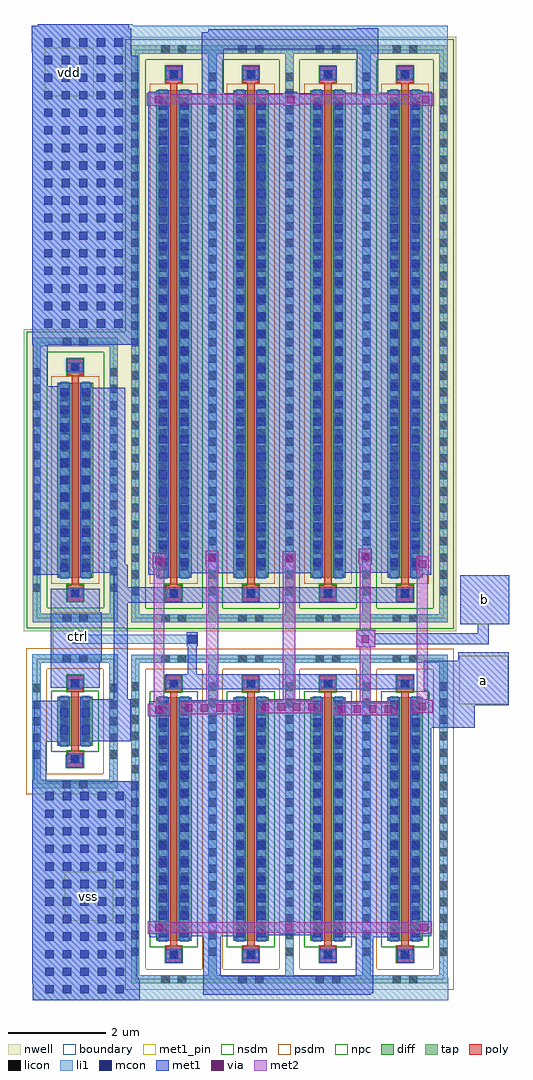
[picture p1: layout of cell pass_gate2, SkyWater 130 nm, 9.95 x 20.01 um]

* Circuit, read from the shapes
.subckt pass_gate2 a b ctrl vdd vss
XM1 n1 ctrl vss vss sky130_fd_pr__nfet_01v8 w=1 l=0.15
XM2 b ctrl a vss sky130_fd_pr__nfet_01v8 w=5 l=0.15 m=4
XM3 n1 ctrl vdd vdd sky130_fd_pr__pfet_01v8 w=4 l=0.15
XM4 b n1 a vdd sky130_fd_pr__pfet_01v8 w=10 l=0.15 m=4
.ends

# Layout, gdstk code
import gdstk
lib = gdstk.Library(unit=1e-6, precision=1e-09)
def R(c, l, rs):  # rectangles x0, y0, x1, y1
    for r in rs: c.add(gdstk.rectangle(r[:2], r[2:], *l))
def A(c, l, x, y, w, h, nx, ny, dx, dy):  # array of equal rectangles
    R(c, l, [(x+i*dx, y+j*dy, x+i*dx+w, y+j*dy+h) for i in range(nx) for j in range(ny)])
nwell = (64, 20)
diff = (65, 20)
tap = (65, 44)
poly = (66, 20)
licon = (66, 44)
li1 = (67, 20)
mcon = (67, 44)
met1_pin = (68, 16)
met1 = (68, 20)
via = (68, 44)
met2 = (69, 20)
nsdm = (93, 44)
psdm = (94, 20)
npc = (95, 20)
boundary = (235, 4)

sky130_fd_pr__nfet_01v8_ = lib.new_cell('sky130_fd_pr__nfet_01v8_648S5X')
R(sky130_fd_pr__nfet_01v8_, diff, [(-0.365,-0.5,0.365,0.5)])
R(sky130_fd_pr__nfet_01v8_, tap, [(-0.875,-1.37,0.875,-1.2), (-0.875,-1.2,-0.705,1.2), (0.705,-1.2,0.875,1.2), (-0.875,1.2,0.875,1.37)])
R(sky130_fd_pr__nfet_01v8_, poly, [(-0.165,-0.94,0.165,-0.61), (-0.075,-0.61,0.075,0.61), (-0.165,0.61,0.165,0.94)])
A(sky130_fd_pr__nfet_01v8_, licon, -0.875, -0.765, 0.17, 0.17, 1, 5, 0, 0.34)
A(sky130_fd_pr__nfet_01v8_, licon, 0.705, -0.765, 0.17, 0.17, 1, 5, 0, 0.34)
A(sky130_fd_pr__nfet_01v8_, licon, -0.305, -0.425, 0.17, 0.17, 1, 3, 0, 0.34)
A(sky130_fd_pr__nfet_01v8_, licon, 0.135, -0.425, 0.17, 0.17, 1, 3, 0, 0.34)
R(sky130_fd_pr__nfet_01v8_, licon, [(-0.255,-1.37,-0.085,-1.2), (0.085,-1.37,0.255,-1.2), (-0.085,-0.86,0.085,-0.69), (-0.085,0.69,0.085,0.86), (-0.255,1.2,-0.085,1.37), (0.085,1.2,0.255,1.37)])
R(sky130_fd_pr__nfet_01v8_, li1, [(-0.875,-1.37,0.875,-1.2), (-0.875,-1.2,-0.705,1.2), (0.705,-1.2,0.875,1.2), (-0.165,-0.86,0.165,-0.69), (-0.305,-0.52,-0.135,0.52), (0.135,-0.52,0.305,0.52), (-0.165,0.69,0.165,0.86), (-0.875,1.2,0.875,1.37)])
R(sky130_fd_pr__nfet_01v8_, mcon, [(-0.085,-0.86,0.085,-0.69), (-0.305,-0.265,-0.135,-0.095), (0.135,-0.265,0.305,-0.095), (-0.305,0.095,-0.135,0.265), (0.135,0.095,0.305,0.265), (-0.085,0.69,0.085,0.86)])
R(sky130_fd_pr__nfet_01v8_, met1, [(-0.145,-0.89,0.145,-0.66), (-0.335,-0.5,-0.105,0.5), (0.105,-0.5,0.335,0.5), (-0.145,0.66,0.145,0.89)])
R(sky130_fd_pr__nfet_01v8_, nsdm, [(-0.49,-0.625,0.49,0.625)])
R(sky130_fd_pr__nfet_01v8_, psdm, [(-1,-1.495,1,-1.075), (-1,-1.075,-0.58,1.075), (0.58,-1.075,1,1.075), (-1,1.075,1,1.495)])
R(sky130_fd_pr__nfet_01v8_, npc, [(-0.185,-0.96,0.185,-0.59), (-0.185,0.59,0.185,0.96)])
R(sky130_fd_pr__nfet_01v8_, boundary, [(-0.79,-1.285,0.79,1.285)])

sky130_fd_pr__pfet_01v8_ = lib.new_cell('sky130_fd_pr__pfet_01v8_XGASDL')
R(sky130_fd_pr__pfet_01v8_, nwell, [(-1.055,-3.095,1.055,3.095)])
R(sky130_fd_pr__pfet_01v8_, diff, [(-0.365,-2,0.365,2)])
R(sky130_fd_pr__pfet_01v8_, tap, [(-0.875,-2.915,0.875,-2.745), (-0.875,-2.745,-0.705,2.745), (0.705,-2.745,0.875,2.745), (-0.875,2.745,0.875,2.915)])
R(sky130_fd_pr__pfet_01v8_, poly, [(-0.165,-2.485,0.165,-2.155), (-0.075,-2.155,0.075,2.155), (-0.165,2.155,0.165,2.485)])
A(sky130_fd_pr__pfet_01v8_, licon, -0.875, -2.295, 0.17, 0.17, 1, 14, 0, 0.34)
A(sky130_fd_pr__pfet_01v8_, licon, 0.705, -2.295, 0.17, 0.17, 1, 14, 0, 0.34)
A(sky130_fd_pr__pfet_01v8_, licon, -0.305, -1.785, 0.17, 0.17, 1, 11, 0, 0.34)
A(sky130_fd_pr__pfet_01v8_, licon, 0.135, -1.785, 0.17, 0.17, 1, 11, 0, 0.34)
R(sky130_fd_pr__pfet_01v8_, licon, [(-0.255,-2.915,-0.085,-2.745), (0.085,-2.915,0.255,-2.745), (-0.085,-2.405,0.085,-2.235), (-0.085,2.235,0.085,2.405), (-0.255,2.745,-0.085,2.915), (0.085,2.745,0.255,2.915)])
R(sky130_fd_pr__pfet_01v8_, li1, [(-0.875,-2.915,0.875,-2.745), (-0.875,-2.745,-0.705,2.745), (0.705,-2.745,0.875,2.745), (-0.165,-2.405,0.165,-2.235), (-0.305,-2.02,-0.135,2.02), (0.135,-2.02,0.305,2.02), (-0.165,2.235,0.165,2.405), (-0.875,2.745,0.875,2.915)])
A(sky130_fd_pr__pfet_01v8_, mcon, -0.305, -1.885, 0.17, 0.17, 1, 11, 0, 0.36)
A(sky130_fd_pr__pfet_01v8_, mcon, 0.135, -1.885, 0.17, 0.17, 1, 11, 0, 0.36)
R(sky130_fd_pr__pfet_01v8_, mcon, [(-0.085,-2.405,0.085,-2.235), (-0.085,2.235,0.085,2.405)])
R(sky130_fd_pr__pfet_01v8_, met1, [(-0.145,-2.435,0.145,-2.205), (-0.335,-2,-0.105,2), (0.105,-2,0.335,2), (-0.145,2.205,0.145,2.435)])
R(sky130_fd_pr__pfet_01v8_, nsdm, [(-1,-3.04,1,-2.62), (-1,-2.62,-0.58,2.62), (0.58,-2.62,1,2.62), (-1,2.62,1,3.04)])
R(sky130_fd_pr__pfet_01v8_, psdm, [(-0.49,-2.125,0.49,2.125)])
R(sky130_fd_pr__pfet_01v8_, npc, [(-0.185,-2.505,0.185,-2.135), (-0.185,2.135,0.185,2.505)])
R(sky130_fd_pr__pfet_01v8_, boundary, [(-0.79,-2.83,0.79,2.83)])

c_sky130_fd_pr__pfet_01v8_ = lib.new_cell('sky130_fd_pr__pfet_01v8_XGA8MR')
R(c_sky130_fd_pr__pfet_01v8_, nwell, [(-1.055,-6.095,1.055,6.095)])
R(c_sky130_fd_pr__pfet_01v8_, diff, [(-0.365,-5,0.365,5)])
R(c_sky130_fd_pr__pfet_01v8_, tap, [(-0.875,-5.915,0.875,-5.745), (-0.875,-5.745,-0.705,5.745), (0.705,-5.745,0.875,5.745), (-0.875,5.745,0.875,5.915)])
R(c_sky130_fd_pr__pfet_01v8_, poly, [(-0.165,-5.485,0.165,-5.155), (-0.075,-5.155,0.075,5.155), (-0.165,5.155,0.165,5.485)])
A(c_sky130_fd_pr__pfet_01v8_, licon, -0.875, -5.355, 0.17, 0.17, 1, 32, 0, 0.34)
A(c_sky130_fd_pr__pfet_01v8_, licon, 0.705, -5.355, 0.17, 0.17, 1, 32, 0, 0.34)
A(c_sky130_fd_pr__pfet_01v8_, licon, -0.305, -4.845, 0.17, 0.17, 1, 29, 0, 0.34)
A(c_sky130_fd_pr__pfet_01v8_, licon, 0.135, -4.845, 0.17, 0.17, 1, 29, 0, 0.34)
R(c_sky130_fd_pr__pfet_01v8_, licon, [(-0.255,-5.915,-0.085,-5.745), (0.085,-5.915,0.255,-5.745), (-0.085,-5.405,0.085,-5.235), (-0.085,5.235,0.085,5.405), (-0.255,5.745,-0.085,5.915), (0.085,5.745,0.255,5.915)])
R(c_sky130_fd_pr__pfet_01v8_, li1, [(-0.875,-5.915,0.875,-5.745), (-0.875,-5.745,-0.705,5.745), (0.705,-5.745,0.875,5.745), (-0.165,-5.405,0.165,-5.235), (-0.305,-5.02,-0.135,5.02), (0.135,-5.02,0.305,5.02), (-0.165,5.235,0.165,5.405), (-0.875,5.745,0.875,5.915)])
A(c_sky130_fd_pr__pfet_01v8_, mcon, -0.305, -4.765, 0.17, 0.17, 1, 27, 0, 0.36)
A(c_sky130_fd_pr__pfet_01v8_, mcon, 0.135, -4.765, 0.17, 0.17, 1, 27, 0, 0.36)
R(c_sky130_fd_pr__pfet_01v8_, mcon, [(-0.085,-5.405,0.085,-5.235), (-0.085,5.235,0.085,5.405)])
R(c_sky130_fd_pr__pfet_01v8_, met1, [(-0.145,-5.435,0.145,-5.205), (-0.335,-5,-0.105,5), (0.105,-5,0.335,5), (-0.145,5.205,0.145,5.435)])
R(c_sky130_fd_pr__pfet_01v8_, nsdm, [(-1,-6.04,1,-5.62), (-1,-5.62,-0.58,5.62), (0.58,-5.62,1,5.62), (-1,5.62,1,6.04)])
R(c_sky130_fd_pr__pfet_01v8_, psdm, [(-0.49,-5.125,0.49,5.125)])
R(c_sky130_fd_pr__pfet_01v8_, npc, [(-0.185,-5.505,0.185,-5.135), (-0.185,5.135,0.185,5.505)])
R(c_sky130_fd_pr__pfet_01v8_, boundary, [(-0.79,-5.83,0.79,5.83)])

c_sky130_fd_pr__nfet_01v8_ = lib.new_cell('sky130_fd_pr__nfet_01v8_BBNS5X')
R(c_sky130_fd_pr__nfet_01v8_, diff, [(-0.365,-2.5,0.365,2.5)])
R(c_sky130_fd_pr__nfet_01v8_, tap, [(-0.875,-3.37,0.875,-3.2), (-0.875,-3.2,-0.705,3.2), (0.705,-3.2,0.875,3.2), (-0.875,3.2,0.875,3.37)])
R(c_sky130_fd_pr__nfet_01v8_, poly, [(-0.165,-2.94,0.165,-2.61), (-0.075,-2.61,0.075,2.61), (-0.165,2.61,0.165,2.94)])
A(c_sky130_fd_pr__nfet_01v8_, licon, -0.875, -2.805, 0.17, 0.17, 1, 17, 0, 0.34)
A(c_sky130_fd_pr__nfet_01v8_, licon, 0.705, -2.805, 0.17, 0.17, 1, 17, 0, 0.34)
A(c_sky130_fd_pr__nfet_01v8_, licon, -0.305, -2.295, 0.17, 0.17, 1, 14, 0, 0.34)
A(c_sky130_fd_pr__nfet_01v8_, licon, 0.135, -2.295, 0.17, 0.17, 1, 14, 0, 0.34)
R(c_sky130_fd_pr__nfet_01v8_, licon, [(-0.255,-3.37,-0.085,-3.2), (0.085,-3.37,0.255,-3.2), (-0.085,-2.86,0.085,-2.69), (-0.085,2.69,0.085,2.86), (-0.255,3.2,-0.085,3.37), (0.085,3.2,0.255,3.37)])
R(c_sky130_fd_pr__nfet_01v8_, li1, [(-0.875,-3.37,0.875,-3.2), (-0.875,-3.2,-0.705,3.2), (0.705,-3.2,0.875,3.2), (-0.165,-2.86,0.165,-2.69), (-0.305,-2.52,-0.135,2.52), (0.135,-2.52,0.305,2.52), (-0.165,2.69,0.165,2.86), (-0.875,3.2,0.875,3.37)])
A(c_sky130_fd_pr__nfet_01v8_, mcon, -0.305, -2.425, 0.17, 0.17, 1, 14, 0, 0.36)
A(c_sky130_fd_pr__nfet_01v8_, mcon, 0.135, -2.425, 0.17, 0.17, 1, 14, 0, 0.36)
R(c_sky130_fd_pr__nfet_01v8_, mcon, [(-0.085,-2.86,0.085,-2.69), (-0.085,2.69,0.085,2.86)])
R(c_sky130_fd_pr__nfet_01v8_, met1, [(-0.145,-2.89,0.145,-2.66), (-0.335,-2.5,-0.105,2.5), (0.105,-2.5,0.335,2.5), (-0.145,2.66,0.145,2.89)])
R(c_sky130_fd_pr__nfet_01v8_, nsdm, [(-0.49,-2.625,0.49,2.625)])
R(c_sky130_fd_pr__nfet_01v8_, psdm, [(-1,-3.495,1,-3.075), (-1,-3.075,-0.58,3.075), (0.58,-3.075,1,3.075), (-1,3.075,1,3.495)])
R(c_sky130_fd_pr__nfet_01v8_, npc, [(-0.185,-2.96,0.185,-2.59), (-0.185,2.59,0.185,2.96)])
R(c_sky130_fd_pr__nfet_01v8_, boundary, [(-0.79,-3.285,0.79,3.285)])

pass_gate2 = lib.new_cell('pass_gate2')
R(pass_gate2, li1, [(11.165,-18.56,19.685,-18.225), (11.155,-18.225,19.685,-18.105), (11.155,-18.105,13.305,-14.075), (11.965,-11.255,14.53,-11.07), (11.15,-5.125,13.32,0.875), (11.145,0.875,19.67,1.415), (11.27,1.415,13.215,1.45)])
A(pass_gate2, mcon, 11.42, -18.425, 0.17, 0.17, 5, 12, 0.36, 0.36)
A(pass_gate2, mcon, 11.395, -4.775, 0.17, 0.17, 5, 17, 0.36, 0.36)
R(pass_gate2, mcon, [(11.97,-11.25,12.14,-11.08), (14.35,-11.25,14.52,-11.08)])
R(pass_gate2, met1_pin, [(11.815,-16.935,12.815,-15.935), (19.91,-12.5,20.91,-11.5), (11.575,-11.615,12.575,-10.615), (19.93,-10.855,20.93,-9.855), (11.41,-0.035,12.41,0.965)])
A(pass_gate2, met1, 15.465, -17.795, 0.345, 0.26, 3, 1, 1.585, 0)
R(pass_gate2, met1, [(11.165,-18.56,13.335,-18.55), (11.165,-18.55,13.355,-18.225), (14.66,-18.455,18.09,-18.425), (14.66,-18.425,18.145,-18.065), (11.155,-18.225,13.355,-18.15), (11.155,-18.15,13.335,-18.105), (11.155,-18.105,13.305,-14.075), (14.66,-18.065,15.02,-17.255), (17.785,-18.065,18.145,-17.275), (13.885,-17.8,14.23,-17.54), (13.555,-17.275,13.92,-17.235), (17.355,-17.275,18.6,-12.435), (14.22,-17.255,15.465,-12.415), (18.97,-17.25,19.335,-12.98), (13.555,-17.235,13.95,-16.915), (16.28,-17.235,16.54,-17.23), (15.79,-17.23,17.035,-12.39), (13.555,-16.915,13.92,-12.775), (11.175,-14.075,11.44,-14.04), (11.185,-14.04,11.44,-13.27), (11.84,-13.795,12.185,-13.535), (11.685,-13.29,11.885,-13.27), (11.185,-13.27,11.885,-13.035), (12.17,-13.26,13.175,-12.395), (11.195,-13.035,11.885,-12.455), (18.97,-12.98,20.22,-12.52), (13.555,-12.775,13.95,-12.455), (18.97,-12.52,20.92,-12.39), (11.195,-12.455,11.87,-12.425), (13.555,-12.455,13.92,-12.44), (12.825,-12.395,13.115,-10.42), (18.97,-12.39,19.03,-12.385), (19.285,-12.39,20.92,-12.215), (19.18,-12.215,20.92,-11.605), (13.885,-12.185,18.985,-11.885), (11.535,-12.16,12.535,-11.615), (14.34,-11.885,14.525,-11.31), (11.535,-11.615,12.575,-10.615), (19.89,-11.605,20.92,-11.43), (17.8,-11.33,18.18,-11.27), (14.32,-11.31,14.55,-11.02), (17.8,-11.27,20.515,-11.045), (17.8,-11.045,18.18,-10.97), (20.29,-11.045,20.515,-10.855), (19.93,-10.855,20.93,-9.855), (11.535,-10.615,12.535,-10.125), (12.825,-10.42,18.975,-10.095), (12.825,-10.095,13.115,-9.805), (11.185,-9.84,11.885,-6.835), (13.535,-9.84,13.93,-0.255), (18.94,-9.84,19.335,-0.255), (14.2,-9.815,15.47,0.035), (15.795,-9.815,17.065,0.035), (12.2,-9.805,13.115,-9.635), (17.375,-9.805,18.645,0.045), (12.2,-9.635,13.055,-6.01), (11.165,-6.835,11.885,-5.975), (11.165,-5.975,11.47,-5.125), (11.86,-5.675,12.205,-5.415), (11.15,-5.125,13.32,0.8), (13.535,-0.255,13.95,0.065), (18.94,-0.255,19.345,0.035), (14.63,0.035,15.075,0.93), (16.325,0.035,16.585,0.065), (19.085,0.035,19.345,0.065), (17.805,0.045,18.25,0.93), (17.05,0.32,17.395,0.58), (13.89,0.33,14.235,0.59), (15.47,0.33,15.815,0.59), (18.625,0.335,18.97,0.595), (11.15,0.8,13.185,0.875), (11.145,0.875,13.185,1.355), (14.63,0.93,18.25,1.285), (14.765,1.285,18.25,1.345), (17.805,1.345,18.25,1.36), (11.145,1.355,13.135,1.415), (11.27,1.415,13.135,1.45)])
A(pass_gate2, via, 17.42, -12.67, 0.15, 0.15, 4, 1, 0.32, 0)
A(pass_gate2, via, 14.285, -12.65, 0.15, 0.15, 4, 1, 0.32, 0)
A(pass_gate2, via, 15.855, -12.625, 0.15, 0.15, 4, 1, 0.32, 0)
R(pass_gate2, via, [(13.675,-17.15,13.825,-17), (16.335,-17.15,16.485,-17), (19.11,-17.15,19.26,-17), (13.675,-12.69,13.825,-12.54), (19.075,-12.62,19.225,-12.47), (17.905,-11.235,18.055,-11.085), (19.08,-9.695,19.23,-9.545), (13.675,-9.625,13.825,-9.475), (16.34,-9.59,16.49,-9.44), (14.765,-9.58,14.915,-9.43), (17.905,-9.545,18.055,-9.395), (13.665,-0.17,13.815,-0.02), (16.38,-0.17,16.53,-0.02), (19.14,-0.17,19.29,-0.02)])
R(pass_gate2, met2, [(13.525,-17.205,13.98,-17.18), (16.25,-17.205,16.57,-17.18), (19.025,-17.205,19.345,-17.18), (13.525,-17.18,19.345,-16.97), (13.525,-16.97,13.98,-16.945), (16.25,-16.97,16.57,-16.945), (19.025,-16.97,19.345,-16.945), (13.525,-12.745,13.98,-12.485), (17.325,-12.725,18.63,-12.465), (14.19,-12.705,15.495,-12.445), (15.76,-12.68,17.065,-12.42), (18.94,-12.675,19.365,-12.415), (13.645,-12.485,13.855,-9.71), (17.865,-12.465,18.09,-11.33), (14.715,-12.445,14.965,-9.665), (16.285,-12.42,16.54,-9.675), (19.04,-12.415,19.265,-9.78), (17.8,-11.33,18.18,-10.97), (17.865,-10.97,18.09,-9.63), (19.025,-9.78,19.285,-9.46), (13.62,-9.71,13.88,-9.39), (16.285,-9.675,16.545,-9.355), (14.71,-9.665,14.97,-9.345), (17.85,-9.63,18.11,-9.31), (13.505,-0.225,13.98,-0.195), (16.295,-0.225,16.615,-0.195), (19.055,-0.225,19.375,-0.195), (13.505,-0.195,19.375,0.005), (13.505,0.005,13.98,0.035), (16.295,0.005,16.615,0.035), (19.055,0.005,19.375,0.035)])
R(pass_gate2, nsdm, [(13.035,-10.94,13.055,-4.86)])
R(pass_gate2, psdm, [(13.03,-14.34,13.055,-11.355)])
pass_gate2.add(gdstk.Reference(sky130_fd_pr__nfet_01v8_, (12.03,-12.845)))
pass_gate2.add(gdstk.Reference(sky130_fd_pr__pfet_01v8_, (12.035,-7.9)))
pass_gate2.add(gdstk.Reference(c_sky130_fd_pr__pfet_01v8_, (14.055,-4.905)))
pass_gate2.add(gdstk.Reference(c_sky130_fd_pr__nfet_01v8_, (14.055,-14.85)))
pass_gate2.add(gdstk.Reference(c_sky130_fd_pr__pfet_01v8_, (15.635,-4.905)))
pass_gate2.add(gdstk.Reference(c_sky130_fd_pr__nfet_01v8_, (15.635,-14.85)))
pass_gate2.add(gdstk.Reference(c_sky130_fd_pr__pfet_01v8_, (17.215,-4.905)))
pass_gate2.add(gdstk.Reference(c_sky130_fd_pr__nfet_01v8_, (17.215,-14.85)))
pass_gate2.add(gdstk.Reference(c_sky130_fd_pr__nfet_01v8_, (18.795,-14.85)))
pass_gate2.add(gdstk.Reference(c_sky130_fd_pr__pfet_01v8_, (18.795,-4.905)))
pass_gate2.add(gdstk.Label('vdd', (11.91,0.465), layer=68, texttype=5))
pass_gate2.add(gdstk.Label('ctrl', (12.075,-11.115), layer=68, texttype=5))
pass_gate2.add(gdstk.Label('a', (20.41,-12), layer=68, texttype=5))
pass_gate2.add(gdstk.Label('b', (20.43,-10.355), layer=68, texttype=5))
pass_gate2.add(gdstk.Label('vss', (12.315,-16.435), layer=68, texttype=5))

lib.write_gds('pass_gate2.gds')
